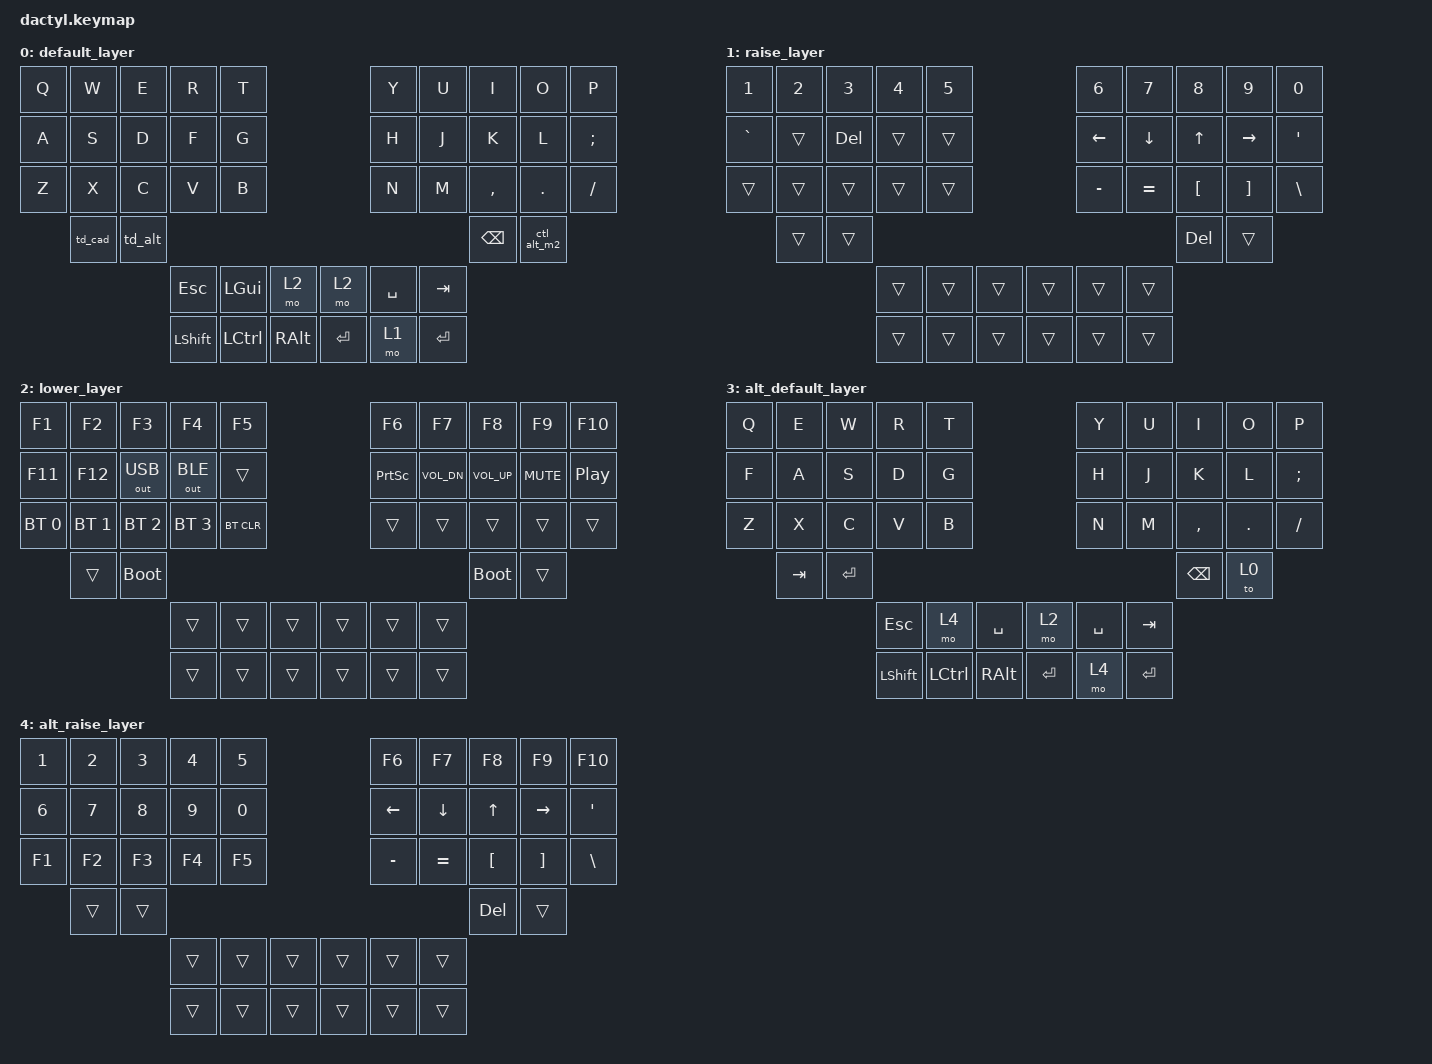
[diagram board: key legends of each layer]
/*
 * Copyright (c) 2020 The ZMK Contributors
 *
 * SPDX-License-Identifier: MIT
 */

#include <behaviors.dtsi>
#include <dt-bindings/zmk/keys.h>
#include <dt-bindings/zmk/bt.h>
#include <dt-bindings/zmk/outputs.h>
#include <dt-bindings/zmk/ext_power.h>

/ {
    behaviors {
        td_cad: tap_dance_cad {
            compatible = "zmk,behavior-tap-dance";
            label = "TAP_DANCE_CTL_ALT_DEL";
            #binding-cells = <0>;
            tapping-term-ms = <200>;
            bindings = <&trans>, <&ctl_alt_del>;
        };

        td_alt: tap_dance_to_alt {
            compatible = "zmk,behavior-tap-dance";
            label = "TAP_DANCE_TO_ALT_LAYER";
            #binding-cells = <0>;
            tapping-term-ms = <500>;
            bindings = <&kp LALT>, <&to 3>;
        };
    };

    macros {
        ctl_alt_del: ctl_alt_del {
            label = "ZM_ctl_alt_del";
            compatible = "zmk,behavior-macro";
            #binding-cells = <0>;
            bindings
                = <&macro_press &kp LCTL &kp LALT &kp DEL>
                , <&macro_pause_for_release>
                , <&macro_release &kp DEL &kp LALT &kp LCTL>
                ;
        };
        ctl_alt_m2: ctl_alt_m2 {
            label = "ZM_ctl_alt_m2";
            compatible = "zmk,behavior-macro";
            #binding-cells = <0>;
            bindings
                = <&macro_press &kp LCTL &kp LALT &mo 2>
                , <&macro_pause_for_release>
                , <&macro_release &kp LCTL &kp LALT &mo 2>
                ;
        };
    };

	keymap {
		compatible = "zmk,keymap";

		default_layer {
			bindings = <
&kp Q        &kp W        &kp E        &kp R        &kp T                                 &kp Y     &kp U        &kp I        &kp O       &kp P
&kp A        &kp S        &kp D        &kp F        &kp G                                 &kp H     &kp J        &kp K        &kp L       &kp SEMI
&kp Z        &kp X        &kp C        &kp V        &kp B                                 &kp N     &kp M        &kp COMMA    &kp DOT     &kp SLASH
             &td_cad      &td_alt                                                                                &kp BSPC     &ctl_alt_m2
                                       &kp ESC      &kp LGUI    &mo 2           &mo 2     &kp SPACE &kp TAB
                                       &kp LSHFT    &kp LCTL    &kp RALT        &kp ENTER &mo 1     &kp ENTER
			>;
		};

		raise_layer {
			bindings = <
&kp N1       &kp N2       &kp N3       &kp N4       &kp N5                                &kp N6    &kp N7       &kp N8       &kp N9      &kp N0
&kp GRAVE    &trans       &kp DEL      &trans       &trans                                &kp LEFT  &kp DOWN     &kp UP       &kp RIGHT   &kp APOS
&trans       &trans       &trans       &trans       &trans                                &kp MINUS &kp EQUAL    &kp LBKT     &kp RBKT    &kp BACKSLASH
             &trans       &trans                                                                                 &kp DEL      &trans
                                       &trans       &trans      &trans          &trans    &trans    &trans
                                       &trans       &trans      &trans          &trans    &trans    &trans
			>;
		};

		lower_layer {
			bindings = <
&kp F1       &kp F2       &kp F3       &kp F4       &kp F5                                &kp F6    &kp F7       &kp F8       &kp F9      &kp F10
&kp F11      &kp F12      &out OUT_USB &out OUT_BLE &trans                                &kp PSCRN &kp K_VOL_DN &kp K_VOL_UP &kp K_MUTE  &kp C_PLAY_PAUSE
&bt BT_SEL 0 &bt BT_SEL 1 &bt BT_SEL 2 &bt BT_SEL 3 &bt BT_CLR                            &trans    &trans       &trans       &trans      &trans
             &trans       &bootloader                                                                            &bootloader  &trans
                                       &trans       &trans      &trans          &trans    &trans    &trans
                                       &trans       &trans      &trans          &trans    &trans    &trans
			>;
		};

		alt_default_layer {
			bindings = <
&kp Q        &kp E        &kp W        &kp R        &kp T                                 &kp Y     &kp U        &kp I        &kp O       &kp P
&kp F        &kp A        &kp S        &kp D        &kp G                                 &kp H     &kp J        &kp K        &kp L       &kp SEMI
&kp Z        &kp X        &kp C        &kp V        &kp B                                 &kp N     &kp M        &kp COMMA    &kp DOT     &kp SLASH
             &kp TAB      &kp ENTER                                                                              &kp BSPC     &to 0
                                       &kp ESC      &mo 4       &kp SPACE       &mo 2     &kp SPACE &kp TAB
                                       &kp LSHFT    &kp LCTL    &kp RALT        &kp ENTER &mo 4     &kp ENTER
			>;
		};

		alt_raise_layer {
			bindings = <
&kp N1       &kp N2       &kp N3       &kp N4       &kp N5                                &kp F6    &kp F7       &kp F8       &kp F9      &kp F10
&kp N6       &kp N7       &kp N8       &kp N9       &kp N0                                &kp LEFT  &kp DOWN     &kp UP       &kp RIGHT   &kp APOS
&kp F1       &kp F2       &kp F3       &kp F4       &kp F5                                &kp MINUS &kp EQUAL    &kp LBKT     &kp RBKT    &kp BACKSLASH
             &trans       &trans                                                                                 &kp DEL      &trans
                                       &trans       &trans      &trans          &trans    &trans    &trans
                                       &trans       &trans      &trans          &trans    &trans    &trans
			>;
		};
	};
};
